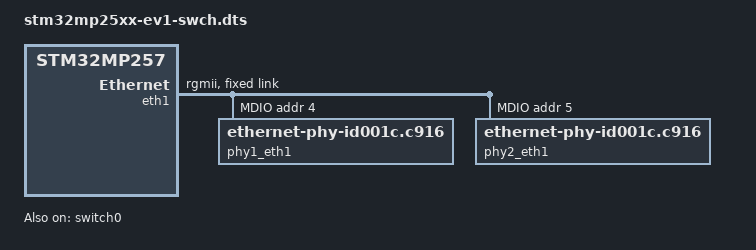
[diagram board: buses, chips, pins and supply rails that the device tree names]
/dts-v1/;
/plugin/;

#include <dt-bindings/gpio/gpio.h>
#include <dt-bindings/input/input.h>

/ {
    compatible = "st,stm32mp257";
    fragment@0 {
                target = <&eth1>;
                __overlay__ {
                    status = "okay";
                    pinctrl-0 = <&eth1_mdio_pins_a>;
                    pinctrl-1 = <&eth1_mdio_sleep_pins_a>;
                    pinctrl-names = "default", "sleep";
                    phy-mode = "rgmii";
                    max-speed = <1000>;
                    st,eth-clk-sel;

                    fixed_link: fixed-link {
                        speed = <1000>;
                        full-duplex;
                    };

                    mdio1 {
                        #address-cells = <1>;
                        #size-cells = <0>;
                        compatible = "snps,dwmac-mdio";

                        phy1_eth1: ethernet-phy@4 {
                            compatible = "ethernet-phy-id001c.c916",
                                         "ethernet-phy-ieee802.3-c22";
                            /* reset gpios is managed by default dual ethenet configuration */
                            realtek,eee-disable;
                            reg = <4>;
                        };

                        phy2_eth1: ethernet-phy@5 {
                            compatible = "ethernet-phy-id001c.c916",
                                         "ethernet-phy-ieee802.3-c22";
                            realtek,eee-disable;
                            reg = <5>;
                        };
                    };
                };
    };

    fragment@1 {
                target = <&switch0>;
                __overlay__ {
                    status = "okay";
                };
    };
};
